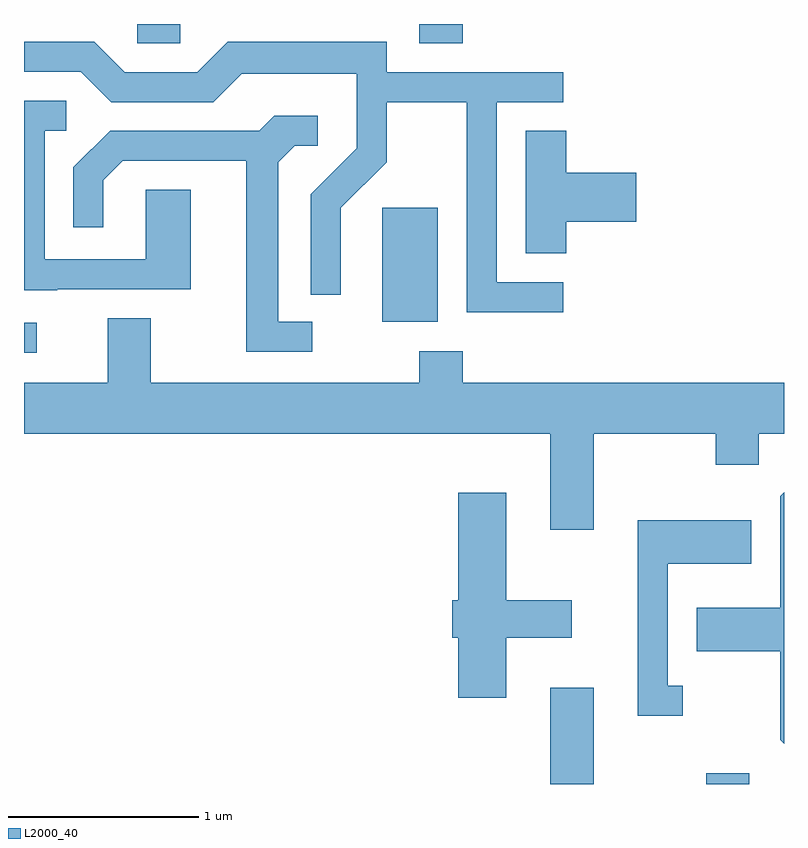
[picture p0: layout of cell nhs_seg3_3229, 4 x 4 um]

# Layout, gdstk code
import gdstk
lib = gdstk.Library(unit=1e-6, precision=1e-09)
def R(c, l, rs):  # rectangles x0, y0, x1, y1
    for r in rs: c.add(gdstk.rectangle(r[:2], r[2:], *l))
def P(c, l, *ps):  # polygons
    for p in ps: c.add(gdstk.Polygon(p, *l))
L2000_40 = (2000, 40)

nhs_seg3_3229 = lib.new_cell('nhs_seg3_3229')
R(nhs_seg3_3229, L2000_40, [(282.381,1181.892,282.609,1182.399), (283.201,1181.892,283.429,1181.949), (279.611,1184.161,279.678,1184.319), (281.496,1184.326,281.789,1184.924), (280.206,1185.791,280.434,1185.892), (281.691,1185.791,281.919,1185.892)])
P(nhs_seg3_3229, L2000_40, [(282.448,1184.534),(282.099,1184.534),(282.099,1185.481),(282.448,1185.481),(282.448,1185.639),(281.519,1185.639),(281.519,1185.799),(280.684,1185.799),(280.524,1185.639),(280.142,1185.639),(279.982,1185.799),(279.611,1185.799),(279.611,1185.641),(279.909,1185.641),(280.069,1185.481),(280.607,1185.481),(280.757,1185.631),(281.361,1185.631),(281.361,1185.237),(281.121,1184.997),(281.121,1184.468),(281.279,1184.468),(281.279,1184.924),(281.519,1185.164),(281.519,1185.481),(281.941,1185.481),(281.941,1184.376),(282.448,1184.376)],
  [(279.785,1184.496),(280.489,1184.496),(280.489,1185.019),(280.251,1185.019),(280.251,1184.654),(279.719,1184.654),(279.719,1185.331),(279.833,1185.331),(279.833,1185.489),(279.611,1185.489),(279.611,1184.491),(279.785,1184.491)],
  [(281.128,1184.324),(280.949,1184.324),(280.949,1185.164),(281.037,1185.251),(281.158,1185.251),(281.158,1185.409),(280.929,1185.409),(280.849,1185.329),(280.064,1185.329),(279.871,1185.137),(279.871,1184.823),(280.029,1184.823),(280.029,1185.069),(280.132,1185.171),(280.781,1185.171),(280.781,1184.166),(281.128,1184.166)],
  [(282.464,1184.851),(282.834,1184.851),(282.834,1185.109),(282.464,1185.109),(282.464,1185.329),(282.251,1185.329),(282.251,1184.686),(282.464,1184.686)],
  [(282.609,1183.736),(283.251,1183.736),(283.251,1183.571),(283.479,1183.571),(283.479,1183.736),(283.611,1183.736),(283.611,1184.004),(281.919,1184.004),(281.919,1184.169),(281.691,1184.169),(281.691,1184.004),(280.279,1184.004),(280.279,1184.344),(280.051,1184.344),(280.051,1184.004),(279.611,1184.004),(279.611,1183.736),(282.381,1183.736),(282.381,1183.231),(282.609,1183.231)],
  [(283.611,1183.427),(283.591,1183.407),(283.591,1182.819),(283.151,1182.819),(283.151,1182.591),(283.591,1182.591),(283.591,1182.124),(283.611,1182.104)],
  [(282.149,1182.661),(282.494,1182.661),(282.494,1182.859),(282.149,1182.859),(282.149,1183.424),(281.896,1183.424),(281.896,1182.859),(281.866,1182.859),(281.866,1182.661),(281.896,1182.661),(281.896,1182.346),(282.149,1182.346)],
  [(283.078,1182.409),(282.999,1182.409),(282.999,1183.051),(283.439,1183.051),(283.439,1183.279),(282.841,1183.279),(282.841,1182.251),(283.078,1182.251)])

lib.write_gds('nhs_seg3_3229.gds')
